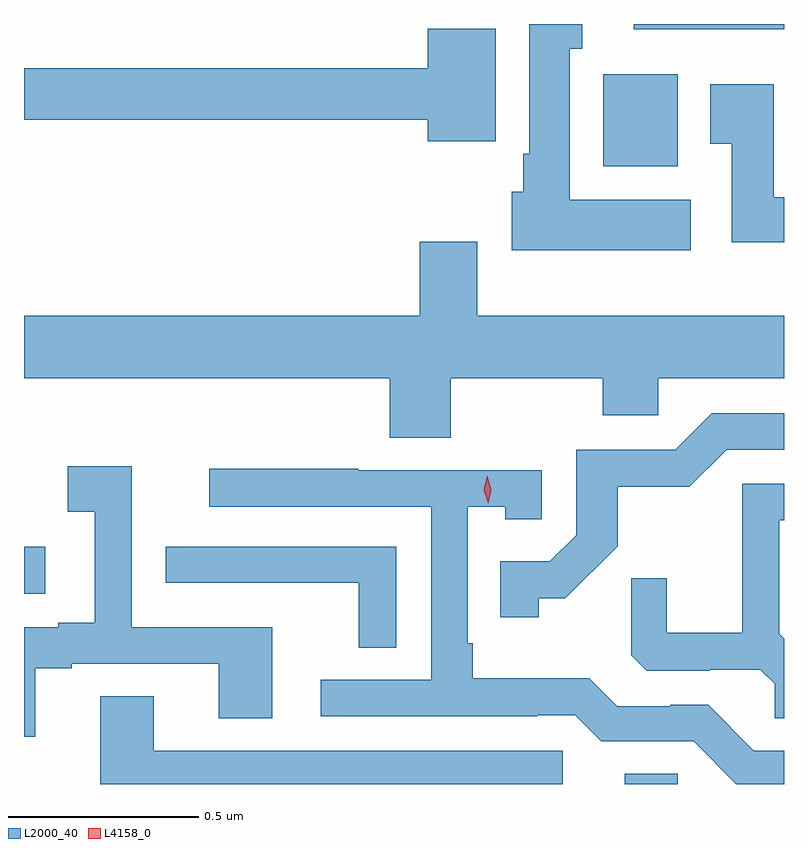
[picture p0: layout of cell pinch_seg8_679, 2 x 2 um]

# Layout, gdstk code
import gdstk
lib = gdstk.Library(unit=1e-6, precision=1e-09)
def R(c, l, rs):  # rectangles x0, y0, x1, y1
    for r in rs: c.add(gdstk.rectangle(r[:2], r[2:], *l))
def P(c, l, *ps):  # polygons
    for p in ps: c.add(gdstk.Polygon(p, *l))
L2000_40 = (2000, 40)
L4158_0 = (4158, 0)

pinch_seg8_679 = lib.new_cell('pinch_seg8_679')
R(pinch_seg8_679, L2000_40, [(347.015,1095.452,347.154,1095.479), (345.434,1095.953,345.49,1096.077), (346.958,1097.078,347.155,1097.32), (347.039,1097.438,347.434,1097.452)])
P(pinch_seg8_679, L2000_40, [(347.188,1096.99),(346.87,1096.99),(346.87,1097.387),(346.903,1097.387),(346.903,1097.452),(346.763,1097.452),(346.763,1097.11),(346.748,1097.11),(346.748,1097.01),(346.718,1097.01),(346.718,1096.856),(347.188,1096.856)],
  [(346.675,1097.44),(346.496,1097.44),(346.496,1097.336),(345.434,1097.336),(345.434,1097.2),(346.496,1097.2),(346.496,1097.144),(346.675,1097.144)],
  [(347.434,1096.996),(347.407,1096.996),(347.407,1097.293),(347.24,1097.293),(347.24,1097.137),(347.297,1097.137),(347.297,1096.878),(347.434,1096.878)],
  [(346.557,1096.52),(346.957,1096.52),(346.957,1096.422),(347.103,1096.422),(347.103,1096.52),(347.434,1096.52),(347.434,1096.684),(346.627,1096.684),(346.627,1096.879),(346.475,1096.879),(346.475,1096.684),(345.434,1096.684),(345.434,1096.52),(346.397,1096.52),(346.397,1096.363),(346.557,1096.363)],
  [(346.788,1095.941),(346.858,1095.941),(346.996,1096.078),(346.996,1096.234),(347.185,1096.234),(347.283,1096.332),(347.434,1096.332),(347.434,1096.428),(347.244,1096.428),(347.148,1096.332),(346.887,1096.332),(346.887,1096.107),(346.818,1096.038),(346.687,1096.038),(346.687,1095.891),(346.788,1095.891)],
  [(345.463,1095.756),(345.559,1095.756),(345.559,1095.768),(345.947,1095.768),(345.947,1095.625),(346.087,1095.625),(346.087,1095.864),(345.717,1095.864),(345.717,1096.288),(345.549,1096.288),(345.549,1096.168),(345.62,1096.168),(345.62,1095.877),(345.524,1095.877),(345.524,1095.864),(345.434,1095.864),(345.434,1095.576),(345.463,1095.576)],
  [(347.434,1095.54),(347.355,1095.54),(347.235,1095.66),(347.134,1095.66),(347.134,1095.657),(346.995,1095.657),(346.922,1095.73),(346.615,1095.73),(346.615,1095.823),(346.602,1095.823),(346.602,1096.181),(346.701,1096.181),(346.701,1096.149),(346.797,1096.149),(346.797,1096.278),(346.313,1096.278),(346.313,1096.281),(345.921,1096.281),(345.921,1096.182),(346.506,1096.182),(346.506,1095.726),(346.215,1095.726),(346.215,1095.63),(346.784,1095.63),(346.784,1095.633),(346.884,1095.633),(346.953,1095.564),(347.196,1095.564),(347.308,1095.452),(347.434,1095.452)],
  [(347.434,1095.834),(347.421,1095.847),(347.421,1096.146),(347.434,1096.146),(347.434,1096.242),(347.324,1096.242),(347.324,1095.85),(347.126,1095.85),(347.126,1095.993),(347.032,1095.993),(347.032,1095.791),(347.073,1095.75),(347.238,1095.75),(347.238,1095.753),(347.372,1095.753),(347.409,1095.716),(347.409,1095.625),(347.434,1095.625)],
  [(346.413,1096.077),(345.807,1096.077),(345.807,1095.982),(345.919,1095.982),(345.919,1095.981),(346.315,1095.981),(346.315,1095.811),(346.413,1095.811)],
  [(346.852,1095.54),(345.775,1095.54),(345.775,1095.683),(345.635,1095.683),(345.635,1095.452),(346.852,1095.452)])
P(pinch_seg8_679, L4158_0, [(346.656,1096.191),(346.656,1096.191),(346.644,1096.226),(346.653,1096.262),(346.653,1096.263),(346.653,1096.262),(346.664,1096.227),(346.656,1096.191)])

lib.write_gds('pinch_seg8_679.gds')
